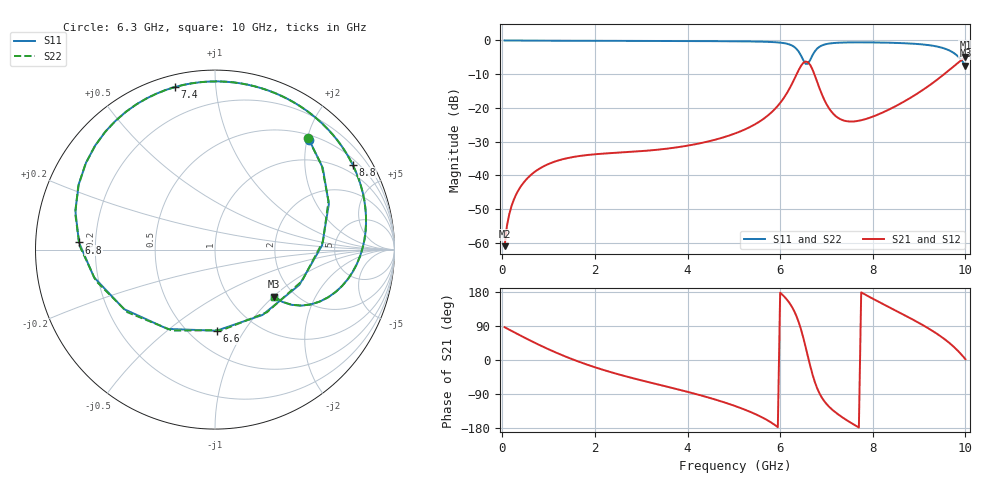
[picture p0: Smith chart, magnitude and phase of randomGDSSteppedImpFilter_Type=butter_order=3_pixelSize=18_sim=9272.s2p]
! freq	dB(S11)	phase(S11)	dB(S12)	phase(S12)
!  dB(S21)	phase(S21)	dB(S22)	phase(S22)
!S-par simulation data
#  GHz  S  DB  R 50
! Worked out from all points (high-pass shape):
!   200 points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, 50 MHz to 10 GHz, reference 50 ohm
!   highest |S21| = -5.04 dB at 10 GHz (marker M1); lowest = -61.0 dB at 50 MHz (marker M2)
!   |S21| within 3 dB of the highest: 6.43 GHz to 6.678 GHz (247.9 MHz wide, 3.78 % of centre); 9.714 GHz to end of sweep
!   lowest |S11| = -7.5 dB at 10 GHz (marker M3), VSWR 2.46, Z = 79.4 - j50.7 ohm
!   |S11| at or under -10 dB: nowhere
!   |S22| runs from -7.5 to 0.0 dB; largest |S21 - S12| = 0
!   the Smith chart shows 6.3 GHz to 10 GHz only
!   S11 on the Smith chart (normalised r, x): 6.3 GHz: 0.58, +2.04; 6.6 GHz: 0.67, -0.76; 6.8 GHz: 0.14, +0.03; 7.4 GHz: 0.06, +0.78; 8.8 GHz: 0.68, +3.40; 10 GHz: 1.59, -1.01
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0.05  -0.00 -3.3  -61.01 86.5  -61.01 86.5  -0.00 -3.3
0.2  -0.02 -13.1  -49.08 76.8  -49.08 76.8  -0.02 -13.1
0.5  -0.04 -32.2  -41.50 57.7  -41.50 57.7  -0.04 -32.2
1.1  -0.08 -67.7  -36.09 22.8  -36.09 22.8  -0.08 -67.7
1.75  -0.11 -100.9  -34.12 -8.8  -34.12 -8.8  -0.11 -100.9
2.55  -0.13 -134.7  -33.24 -39.2  -33.24 -39.2  -0.13 -134.7
3.4  -0.15 -165.1  -32.34 -65.7  -32.34 -65.7  -0.15 -165.1
4.25  -0.19 166.8  -30.55 -92.1  -30.55 -92.1  -0.19 166.8
5.05  -0.25 139.3  -27.46 -122.4  -27.46 -122.4  -0.25 139.3
5.95  -0.58 94.5  -19.37 -177.3  -19.37 -177.3  -0.58 94.6
6.15  -0.98 74.6  -15.52 158.8  -15.52 158.8  -0.97 74.9
6.3  -1.87 49.5  -11.62 129.9  -11.62 129.9  -1.84 50.2
6.45  -4.48 2.3  -7.55 80.8  -7.55 80.8  -4.39 4.3
6.6  -6.90 -88.9  -6.44 9.0  -6.44 9.0  -6.92 -85.1
6.7  -4.35 -146.8  -8.66 -38.7  -8.66 -38.7  -4.44 -144.4
6.8  -2.40 177.0  -12.33 -74.9  -12.33 -74.9  -2.44 178.3
7.05  -0.94 132.8  -20.02 -122.5  -20.02 -122.5  -0.95 133.2
7.4  -0.60 103.9  -23.85 -155.9  -23.85 -155.9  -0.61 104.1
8.35  -0.67 54.3  -20.49 139.5  -20.49 139.5  -0.67 54.3
8.8  -0.90 31.7  -17.13 110.9  -17.13 110.9  -0.90 31.7
9.45  -2.00 -5.8  -11.00 63.9  -11.00 63.9  -2.00 -5.8
10  -7.50 -38.5  -5.04 2.2  -5.04 2.2  -7.50 -38.5
